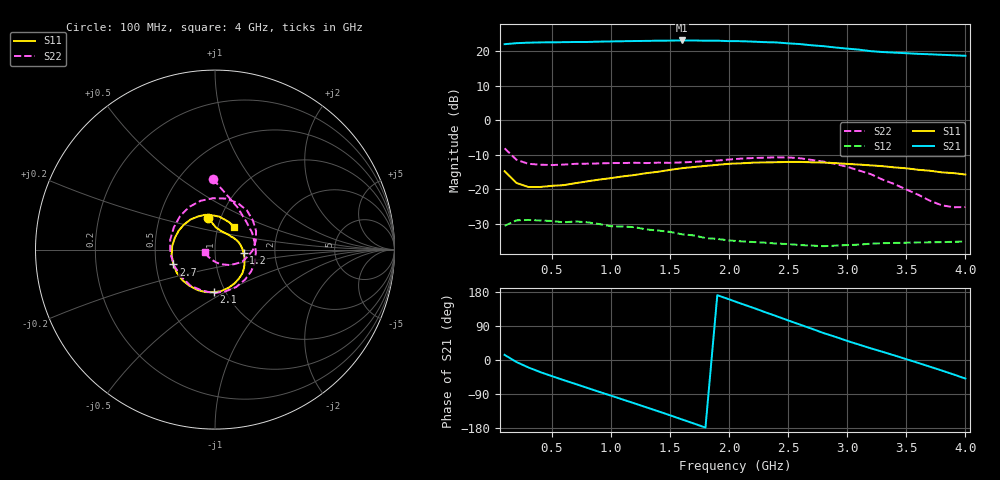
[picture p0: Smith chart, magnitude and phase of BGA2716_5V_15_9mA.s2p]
! Bias: Vs=5.00 V; Is=15.9 mA
#  MHz  S  MA  R 50
! Freq  S11  S21  S12  S22
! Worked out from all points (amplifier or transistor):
!   40 points, 100 MHz to 4 GHz, reference 50 ohm
!   highest |S21| = 23.2 dB at 1.6 GHz (marker M1)
!   |S21| within 3 dB of that: start of sweep to 3.176 GHz
!   unconditionally stable (mu >= 1): start of sweep to end of sweep
!   at 700 MHz: K = 1.25, MAG = 23.0 dB, |S12| = -29.3 dB
!   at 2.1 GHz: K = 1.82, MAG = 23.8 dB, |S12| = -35.1 dB
!   at 4 GHz: K = 3.31, MAG = 18.8 dB, |S12| = -35.2 dB
!   S11 on the Smith chart (normalised r, x): 100 MHz: 0.87, +0.32; 1.2 GHz: 1.38, -0.06; 2.1 GHz: 0.88, -0.44; 2.7 GHz: 0.62, -0.11; 4 GHz: 1.19, +0.31
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100  0.1826 102.8  12.7 13.5  0.02947 28.8  0.3924 91.5
200  0.1235 87.6  13.13 -5.3  0.03544 -2.2  0.2678 62.4
400  0.1079 58.6  13.47 -31.7  0.0353 -22.5  0.2273 24.6
600  0.1147 40.1  13.58 -53.1  0.03317 -43.1  0.228 -3.5
800  0.1302 24.3  13.68 -73.6  0.03319 -59.6  0.235 -31.1
1000  0.145 9.7  13.92 -94.0  0.02905 -76.1  0.2398 -60.5
1200  0.1609 -7.5  14.11 -114.5  0.02819 -88.3  0.2421 -91.6
1400  0.1794 -23.4  14.28 -135.3  0.02519 -101.3  0.2431 -124.5
1600  0.202 -41.0  14.38 -156.7  0.02226 -110.3  0.245 -158.6
1700  0.21 -50.9  14.36 -167.4  0.02142 -116.1  0.2497 -175.6
1900  0.2259 -70.7  14.27 171.0  0.01904 -122.4  0.2606 151.7
2100  0.2376 -91.8  14.03 148.9  0.01759 -128.5  0.278 120.9
2300  0.2455 -114.2  13.6 126.8  0.01682 -136.8  0.2867 92.1
2400  0.2466 -125.5  13.46 115.8  0.01632 -138.9  0.2906 78.0
2600  0.2491 -148.9  12.75 93.4  0.01551 -147.7  0.2815 50.7
2700  0.246 -160.3  12.23 82.5  0.01525 -147.9  0.2662 37.5
2800  0.2437 -172.6  11.88 71.0  0.01495 -152.2  0.2514 24.4
3000  0.2333 163.9  10.94 50.4  0.01552 -163.9  0.2114 -0.7
3100  0.228 152.1  10.59 40.5  0.01573 -165.2  0.1869 -11.8
3400  0.2075 117.1  9.576 12.0  0.01666 -176.5  0.1187 -46.3
3700  0.1856 83.0  9.07 -17.7  0.01702 168.3  0.06817 -89.4
4000  0.1638 49.9  8.618 -48.9  0.01741 157.6  0.05523 -163.7
